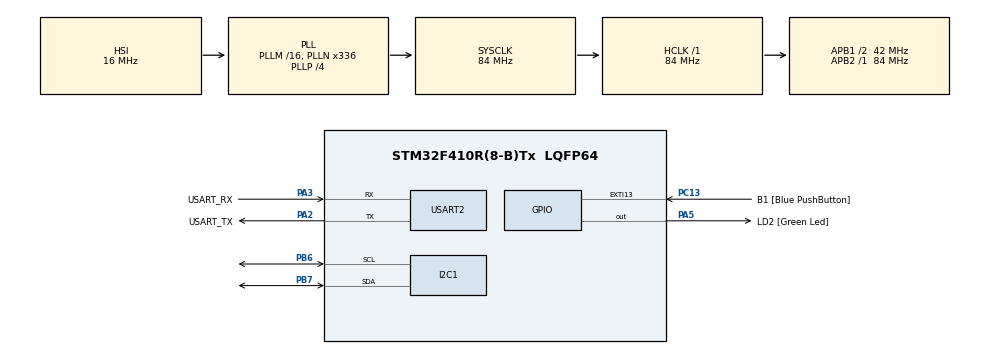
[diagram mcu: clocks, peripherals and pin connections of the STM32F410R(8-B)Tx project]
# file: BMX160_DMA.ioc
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Dma.I2C1_RX.0.Direction=DMA_PERIPH_TO_MEMORY
Dma.I2C1_RX.0.FIFOMode=DMA_FIFOMODE_DISABLE
Dma.I2C1_RX.0.Instance=DMA1_Stream0
Dma.I2C1_RX.0.MemDataAlignment=DMA_MDATAALIGN_BYTE
Dma.I2C1_RX.0.MemInc=DMA_MINC_ENABLE
Dma.I2C1_RX.0.Mode=DMA_NORMAL
Dma.I2C1_RX.0.PeriphDataAlignment=DMA_PDATAALIGN_BYTE
Dma.I2C1_RX.0.PeriphInc=DMA_PINC_DISABLE
Dma.I2C1_RX.0.Priority=DMA_PRIORITY_MEDIUM
Dma.I2C1_TX.1.Direction=DMA_MEMORY_TO_PERIPH
Dma.I2C1_TX.1.FIFOMode=DMA_FIFOMODE_DISABLE
Dma.I2C1_TX.1.Instance=DMA1_Stream1
Dma.I2C1_TX.1.MemDataAlignment=DMA_MDATAALIGN_BYTE
Dma.I2C1_TX.1.MemInc=DMA_MINC_ENABLE
Dma.I2C1_TX.1.Mode=DMA_NORMAL
Dma.I2C1_TX.1.PeriphDataAlignment=DMA_PDATAALIGN_BYTE
Dma.I2C1_TX.1.PeriphInc=DMA_PINC_DISABLE
Dma.I2C1_TX.1.Priority=DMA_PRIORITY_MEDIUM
Dma.Request0=I2C1_RX
Dma.Request1=I2C1_TX
FREERTOS.BinarySemaphores01=sem1,Dynamic,NULL,Depleted
FREERTOS.Tasks01=calculateTask,24,128,calculate,Default,NULL,Dynamic,NULL,NULL
Mcu.Family=STM32F4
Mcu.Name=STM32F410R(8-B)Tx
Mcu.Package=LQFP64
NVIC.DMA1_Stream0_IRQn=true\:5\:0\:false\:false\:true\:true\:false\:true\:true
NVIC.DMA1_Stream1_IRQn=true\:5\:0\:false\:false\:true\:true\:false\:true\:true
NVIC.I2C1_ER_IRQn=true\:5\:0\:false\:false\:true\:true\:true\:true\:true
NVIC.I2C1_EV_IRQn=true\:5\:0\:false\:false\:true\:true\:true\:true\:true
NVIC.PriorityGroup=NVIC_PRIORITYGROUP_4
NVIC.TIM1_BRK_TIM9_IRQn=true\:15\:0\:false\:false\:true\:false\:false\:true\:true
NVIC.TimeBase=TIM1_BRK_TIM9_IRQn
NVIC.TimeBaseIP=TIM9
PA13.GPIO_Label=TMS
PA13.Mode=Serial_Wire
PA13.Signal=SYS_JTMS-SWDIO
PA14.GPIO_Label=TCK
PA14.Mode=Serial_Wire
PA14.Signal=SYS_JTCK-SWCLK
PA2.GPIO_Label=USART_TX
PA2.Mode=Asynchronous
PA2.Signal=USART2_TX
PA3.GPIO_Label=USART_RX
PA3.Mode=Asynchronous
PA3.Signal=USART2_RX
PA5.GPIO_Label=LD2 [Green Led]
PA5.Signal=GPIO_Output
PB3.GPIO_Label=SWO
PB3.Signal=SYS_JTDO-SWO
PB6.Mode=I2C
PB6.Signal=I2C1_SCL
PB7.Mode=I2C
PB7.Signal=I2C1_SDA
PC13-ANTI_TAMP.GPIO_Label=B1 [Blue PushButton]
PC13-ANTI_TAMP.GPIO_ModeDefaultEXTI=GPIO_MODE_IT_FALLING
PC13-ANTI_TAMP.Signal=GPXTI13
PC14-OSC32_IN.Mode=LSE-External-Oscillator
PC14-OSC32_IN.Signal=RCC_OSC32_IN
PC15-OSC32_OUT.Mode=LSE-External-Oscillator
PC15-OSC32_OUT.Signal=RCC_OSC32_OUT
PH0\ -\ OSC_IN.Mode=HSE-External-Clock-Source
PH0\ -\ OSC_IN.Signal=RCC_OSC_IN
PH1\ -\ OSC_OUT.Mode=HSE-External-Clock-Source
PH1\ -\ OSC_OUT.Signal=RCC_OSC_OUT
ProjectManager.HeapSize=0x200
ProjectManager.StackSize=0x400
ProjectManager.TargetToolchain=STM32CubeIDE
RCC.48MHZClocksFreq_Value=84000000
RCC.AHBFreq_Value=84000000
RCC.APB1CLKDivider=RCC_HCLK_DIV2
RCC.APB1Freq_Value=42000000
RCC.APB1TimFreq_Value=84000000
RCC.APB2Freq_Value=84000000
RCC.APB2TimFreq_Value=84000000
RCC.CortexFreq_Value=84000000
RCC.FLatency-AdvancedSettings=FLASH_LATENCY_2
RCC.HCLKFreq_Value=84000000
RCC.HSE_VALUE=8000000
RCC.HSI_VALUE=16000000
RCC.PLLN=336
RCC.PLLP=RCC_PLLP_DIV4
RCC.SYSCLKFreq_VALUE=84000000
RCC.SYSCLKSource=RCC_SYSCLKSOURCE_PLLCLK
RCC.VCOOutputFreq_Value=336000000
USART2.VirtualMode=VM_ASYNC
VP_FREERTOS_VS_CMSIS_V2.Mode=CMSIS_V2
VP_SYS_VS_tim9.Mode=TIM9
board=NUCLEO-F410RB

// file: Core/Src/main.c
/* USER CODE BEGIN Header */
/**
  ******************************************************************************
  * @file           : main.c
  * @brief          : Main program body
  ******************************************************************************
  * @attention
  *
  * Copyright (c) 2026 STMicroelectronics.
  * All rights reserved.
  *
  * This software is licensed under terms that can be found in the LICENSE file
  * in the root directory of this software component.
  * If no LICENSE file comes with this software, it is provided AS-IS.
  *
  ******************************************************************************
  */
/* USER CODE END Header */
#include "main.h"
#include "cmsis_os.h"

/* USER CODE BEGIN Includes */
#include "stdio.h"
#include "bmx160.h"
/* USER CODE END Includes */

I2C_HandleTypeDef hi2c1;
DMA_HandleTypeDef hdma_i2c1_rx;
DMA_HandleTypeDef hdma_i2c1_tx;

UART_HandleTypeDef huart2;

/* Definitions for calculateTask */
osThreadId_t calculateTaskHandle;
const osThreadAttr_t calculateTask_attributes = {
  .name = "calculateTask",
  .stack_size = 128 * 4,
  .priority = (osPriority_t) osPriorityNormal,
};
/* Definitions for sem1 */
osSemaphoreId_t sem1Handle;
const osSemaphoreAttr_t sem1_attributes = {
  .name = "sem1"
};
/* USER CODE BEGIN PV */
uint8_t buffer[23];
uint8_t stat;
/* USER CODE END PV */

void SystemClock_Config(void);
static void MX_GPIO_Init(void);
static void MX_DMA_Init(void);
static void MX_I2C1_Init(void);
static void MX_USART2_UART_Init(void);
void calculate(void *argument);

/* USER CODE BEGIN 0 */
int _write(int file, char *ptr, int len){
	HAL_StatusTypeDef hstatus;
	hstatus = HAL_UART_Transmit(&huart2,(uint8_t *)ptr, len, HAL_MAX_DELAY);
	if(hstatus==HAL_OK)
		return len;
	else
		return -1;
}

void HAL_I2C_MemRxCpltCallback(I2C_HandleTypeDef *hi2c) {
	printf("\nInterrupt!");
    if (hi2c->Instance == I2C1) {
    	printf("\nReading through DMA complete!");
//    	HAL_I2C_Mem_Read_DMA(&hi2c1,BMX160_DEFAULT_ADDR<<1,0x12,I2C_MEMADD_SIZE_8BIT,buffer,6);

//    	HAL_GPIO_TogglePin(GPIOA, GPIO_PIN_10);
//    	osSemaphoreRelease(sem1Handle);
//    	dma_read_next = (dma_read_next==n_buffers-1)?0:dma_read_next+1;
//    	HAL_I2C_Mem_Read_DMA(&hi2c1, MPU6050_ADDR << 1, REG_ACCEL_XOUT_H,
//    	                             1, buffer[dma_read_next], 14);
    }
}

/* USER CODE END 0 */

int main(void)
{

  /* MCU Configuration--------------------------------------------------------*/

  /* Reset of all peripherals, Initializes the Flash interface and the Systick. */
  HAL_Init();

  /* Configure the system clock */
  SystemClock_Config();

  /* Initialize all configured peripherals */
  MX_GPIO_Init();
  MX_DMA_Init();
  MX_I2C1_Init();
  MX_USART2_UART_Init();
  /* USER CODE BEGIN 2 */
  printf("\nCode Started!!\n");
  /* USER CODE END 2 */

  /* Init scheduler */
  osKernelInitialize();

  /* Create the semaphores(s) */
  /* creation of sem1 */
  sem1Handle = osSemaphoreNew(1, 0, &sem1_attributes);

  /* Create the thread(s) */
  /* creation of calculateTask */
  calculateTaskHandle = osThreadNew(calculate, NULL, &calculateTask_attributes);

  /* Start scheduler */
  osKernelStart();

  /* We should never get here as control is now taken by the scheduler */

  /* Infinite loop */
  while (1)
  {

  }
}

void SystemClock_Config(void)
{
  RCC_OscInitTypeDef RCC_OscInitStruct = {0};
  RCC_ClkInitTypeDef RCC_ClkInitStruct = {0};

  /** Configure the main internal regulator output voltage
  */
  __HAL_RCC_PWR_CLK_ENABLE();
  __HAL_PWR_VOLTAGESCALING_CONFIG(PWR_REGULATOR_VOLTAGE_SCALE1);

  /** Initializes the RCC Oscillators according to the specified parameters
  * in the RCC_OscInitTypeDef structure.
  */
  RCC_OscInitStruct.OscillatorType = RCC_OSCILLATORTYPE_HSI;
  RCC_OscInitStruct.HSIState = RCC_HSI_ON;
  RCC_OscInitStruct.HSICalibrationValue = RCC_HSICALIBRATION_DEFAULT;
  RCC_OscInitStruct.PLL.PLLState = RCC_PLL_ON;
  RCC_OscInitStruct.PLL.PLLSource = RCC_PLLSOURCE_HSI;
  RCC_OscInitStruct.PLL.PLLM = 16;
  RCC_OscInitStruct.PLL.PLLN = 336;
  RCC_OscInitStruct.PLL.PLLP = RCC_PLLP_DIV4;
  RCC_OscInitStruct.PLL.PLLQ = 4;
  RCC_OscInitStruct.PLL.PLLR = 2;
  if (HAL_RCC_OscConfig(&RCC_OscInitStruct) != HAL_OK)
  {
    Error_Handler();
  }

  /** Initializes the CPU, AHB and APB buses clocks
  */
  RCC_ClkInitStruct.ClockType = RCC_CLOCKTYPE_HCLK|RCC_CLOCKTYPE_SYSCLK
                              |RCC_CLOCKTYPE_PCLK1|RCC_CLOCKTYPE_PCLK2;
  RCC_ClkInitStruct.SYSCLKSource = RCC_SYSCLKSOURCE_PLLCLK;
  RCC_ClkInitStruct.AHBCLKDivider = RCC_SYSCLK_DIV1;
  RCC_ClkInitStruct.APB1CLKDivider = RCC_HCLK_DIV2;
  RCC_ClkInitStruct.APB2CLKDivider = RCC_HCLK_DIV1;

  if (HAL_RCC_ClockConfig(&RCC_ClkInitStruct, FLASH_LATENCY_2) != HAL_OK)
  {
    Error_Handler();
  }
}

static void MX_I2C1_Init(void)
{

  hi2c1.Instance = I2C1;
  hi2c1.Init.ClockSpeed = 100000;
  hi2c1.Init.DutyCycle = I2C_DUTYCYCLE_2;
  hi2c1.Init.OwnAddress1 = 0;
  hi2c1.Init.AddressingMode = I2C_ADDRESSINGMODE_7BIT;
  hi2c1.Init.DualAddressMode = I2C_DUALADDRESS_DISABLE;
  hi2c1.Init.OwnAddress2 = 0;
  hi2c1.Init.GeneralCallMode = I2C_GENERALCALL_DISABLE;
  hi2c1.Init.NoStretchMode = I2C_NOSTRETCH_DISABLE;
  if (HAL_I2C_Init(&hi2c1) != HAL_OK)
  {
    Error_Handler();
  }

}

static void MX_USART2_UART_Init(void)
{

  huart2.Instance = USART2;
  huart2.Init.BaudRate = 115200;
  huart2.Init.WordLength = UART_WORDLENGTH_8B;
  huart2.Init.StopBits = UART_STOPBITS_1;
  huart2.Init.Parity = UART_PARITY_NONE;
  huart2.Init.Mode = UART_MODE_TX_RX;
  huart2.Init.HwFlowCtl = UART_HWCONTROL_NONE;
  huart2.Init.OverSampling = UART_OVERSAMPLING_16;
  if (HAL_UART_Init(&huart2) != HAL_OK)
  {
    Error_Handler();
  }

}

static void MX_DMA_Init(void)
{

  /* DMA controller clock enable */
  __HAL_RCC_DMA1_CLK_ENABLE();

  /* DMA interrupt init */
  /* DMA1_Stream1_IRQn interrupt configuration */
  HAL_NVIC_SetPriority(DMA1_Stream1_IRQn, 5, 0);
  HAL_NVIC_EnableIRQ(DMA1_Stream1_IRQn);
  /* DMA1_Stream5_IRQn interrupt configuration */
  HAL_NVIC_SetPriority(DMA1_Stream5_IRQn, 0, 0);
  HAL_NVIC_EnableIRQ(DMA1_Stream5_IRQn);

}

static void MX_GPIO_Init(void)
{
  GPIO_InitTypeDef GPIO_InitStruct = {0};

  /* GPIO Ports Clock Enable */
  __HAL_RCC_GPIOC_CLK_ENABLE();
  __HAL_RCC_GPIOH_CLK_ENABLE();
  __HAL_RCC_GPIOA_CLK_ENABLE();
  __HAL_RCC_GPIOB_CLK_ENABLE();

  /*Configure GPIO pin Output Level */
  HAL_GPIO_WritePin(LD2_GPIO_Port, LD2_Pin, GPIO_PIN_RESET);

  /*Configure GPIO pin : B1_Pin */
  GPIO_InitStruct.Pin = B1_Pin;
  GPIO_InitStruct.Mode = GPIO_MODE_IT_FALLING;
  GPIO_InitStruct.Pull = GPIO_NOPULL;
  HAL_GPIO_Init(B1_GPIO_Port, &GPIO_InitStruct);

  /*Configure GPIO pin : LD2_Pin */
  GPIO_InitStruct.Pin = LD2_Pin;
  GPIO_InitStruct.Mode = GPIO_MODE_OUTPUT_PP;
  GPIO_InitStruct.Pull = GPIO_NOPULL;
  GPIO_InitStruct.Speed = GPIO_SPEED_FREQ_LOW;
  HAL_GPIO_Init(LD2_GPIO_Port, &GPIO_InitStruct);

}

void calculate(void *argument)
{
  /* USER CODE BEGIN 5 */

//	BMX160_t sensor;
//	bmx160_attach(&sensor,&hi2c1);
//	bmx160_begin(&sensor);

	osDelay(20);
	HAL_StatusTypeDef result;
	printf("\nStarting DMA...");
	result=HAL_I2C_Mem_Read_DMA(&hi2c1,BMX160_DEFAULT_ADDR<<1,BMX160_MAG_DATA_ADDR,I2C_MEMADD_SIZE_8BIT,buffer,23);
	if(result==HAL_OK){
		printf("\nDMA hit...");
	}else{
		printf("\nError firing DMA! code: %d",result);
		printf("\nState: %d\n", HAL_I2C_GetState(&hi2c1));
	}

  /* Infinite loop */
  for(;;)
  {
//	printf("\nHello worldd;;");
//	osDelay(100);

//	  if(bmx160_CheckAlive(&sensor)==BMX160_OK){
//		  printf("\nSensor found!");
//	  }else{
//		  printf("Error finding sesnor!");
//	  }
//	  osDelay(100);

//	HAL_StatusTypeDef result;
//	printf("\nStarting DMA...");
////	result=HAL_I2C_Mem_Read_DMA(&hi2c1,BMX160_DEFAULT_ADDR<<1,0x12,I2C_MEMADD_SIZE_8BIT,buffer,6);
//	result=HAL_I2C_Mem_Read_DMA(&hi2c1,BMX160_DEFAULT_ADDR<<1,BMX160_CHIPID,I2C_MEMADD_SIZE_8BIT,&stat,1);
//
//	if(result==HAL_OK){
//		printf("\nDMA hit...");
//	}else{
//		printf("\nError firing DMA! code: %d",result);
//	}
//	osDelay(100);
	 // printf("\nWorking...");

    osDelay(1);
  }
  /* USER CODE END 5 */
}

void HAL_TIM_PeriodElapsedCallback(TIM_HandleTypeDef *htim)
{
  if (htim->Instance == TIM9)
  {
    HAL_IncTick();
  }
}

void Error_Handler(void)
{
  __disable_irq();
  while (1)
  {
  }
}
